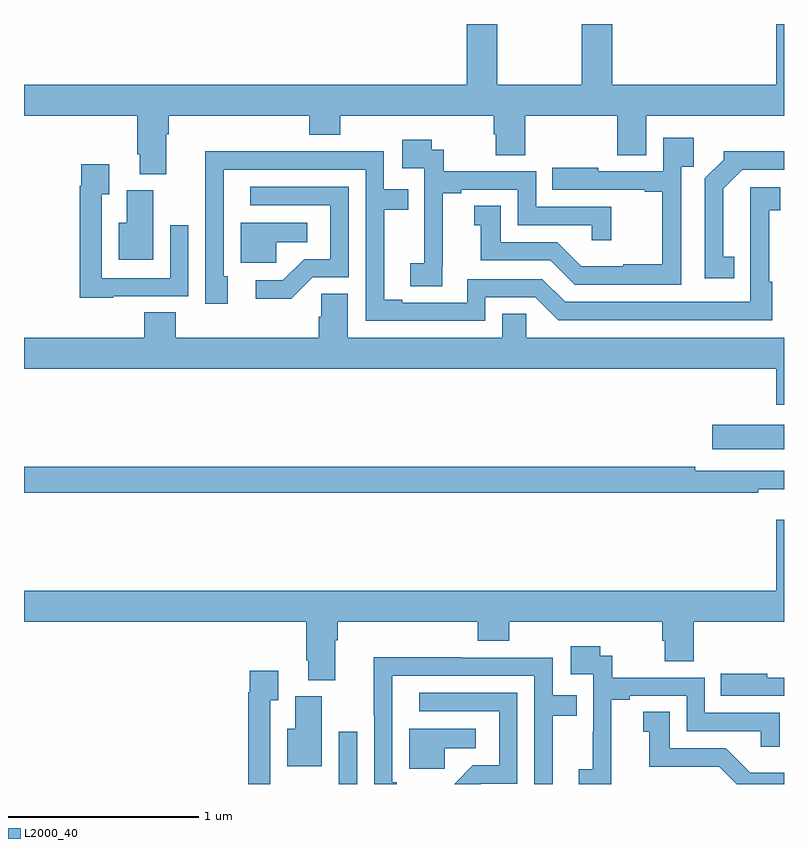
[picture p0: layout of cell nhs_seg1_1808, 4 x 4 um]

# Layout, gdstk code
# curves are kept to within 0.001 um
import gdstk
lib = gdstk.Library(unit=1e-6, precision=1e-09)
def R(c, l, rs):  # rectangles x0, y0, x1, y1
    for r in rs: c.add(gdstk.rectangle(r[:2], r[2:], *l))
def P(c, l, *ps):  # polygons
    for p in ps: c.add(gdstk.Polygon(p, *l))
L2000_40 = (2000, 40)

nhs_seg1_1808 = lib.new_cell('nhs_seg1_1808')
R(nhs_seg1_1808, L2000_40, [(210.657,564.199,210.753,564.475), (212.622,565.961,213,566.091)])
P(nhs_seg1_1808, L2000_40, [(209.749,567.62),(209.762,567.62),(209.762,567.716),(210.5,567.716),(210.5,567.617),(210.665,567.617),(210.665,567.716),(211.472,567.716),(211.472,567.618),(211.484,567.618),(211.484,567.508),(211.637,567.508),(211.637,567.716),(212.123,567.716),(212.123,567.508),(212.275,567.508),(212.275,567.716),(213,567.716),(213,568.199),(212.96,568.199),(212.96,567.88),(212.096,567.88),(212.096,568.199),(211.936,568.199),(211.936,567.88),(211.491,567.88),(211.491,568.199),(211.331,568.199),(211.331,567.88),(209,567.88),(209,567.716),(209.597,567.716),(209.597,567.514),(209.609,567.514),(209.609,567.409),(209.749,567.409)],
  [(212.46,567.449),(212.525,567.449),(212.525,567.601),(212.364,567.601),(212.364,567.423),(212.023,567.423),(212.023,567.442),(211.78,567.442),(211.78,567.327),(212.267,567.327),(212.267,567.315),(212.359,567.315),(212.359,566.935),(212.153,566.935),(212.153,566.923),(211.934,566.923),(211.806,567.051),(211.51,567.051),(211.51,567.242),(211.37,567.242),(211.37,567.139),(211.403,567.139),(211.403,566.955),(211.77,566.955),(211.899,566.826),(212.46,566.826)],
  [(211.202,566.929),(211.204,566.929),(211.204,567.307),(211.3,567.307),(211.3,567.327),(211.599,567.327),(211.599,567.141),(211.989,567.141),(211.989,567.06),(212.09,567.06),(212.09,567.237),(211.695,567.237),(211.695,567.423),(211.208,567.423),(211.208,567.537),(211.146,567.537),(211.146,567.589),(210.99,567.589),(210.99,567.441),(211.107,567.441),(211.107,567.137),(211.106,567.137),(211.106,566.94),(211.032,566.94),(211.032,566.818),(211.202,566.818)],
  [(211.428,566.76),(211.692,566.76),(211.812,566.64),(212.939,566.64),(212.939,566.843),(212.922,566.843),(212.922,567.219),(212.98,567.219),(212.98,567.34),(212.822,567.34),(212.823,566.736),(211.848,566.736),(211.728,566.856),(211.332,566.856),(211.332,566.733),(210.991,566.733),(210.991,566.748),(210.895,566.748),(210.895,567.222),(211.022,567.222),(211.022,567.33),(210.894,567.33),(210.894,567.528),(210.416,567.528),(210.416,567.53),(209.954,567.53),(209.955,566.727),(210.073,566.727),(210.073,566.871),(210.051,566.871),(210.051,567.432),(210.798,567.432),(210.798,566.637),(211.428,566.637)],
  [(212.738,566.975),(212.68,566.975),(212.68,567.331),(212.781,567.432),(213,567.432),(213,567.53),(212.682,567.53),(212.682,567.485),(212.583,567.386),(212.583,566.862),(212.738,566.862)],
  [(209.469,566.766),(209.865,566.766),(209.865,567.139),(209.769,567.139),(209.769,566.862),(209.409,566.862),(209.409,567.304),(209.449,567.304),(209.449,567.46),(209.301,567.46),(209.301,567.347),(209.293,567.347),(209.293,566.759),(209.469,566.759)],
  [(210.519,566.865),(210.708,566.865),(210.708,567.342),(210.192,567.342),(210.192,567.246),(210.612,567.246),(210.612,566.961),(210.474,566.961),(210.363,566.85),(210.219,566.85),(210.219,566.753),(210.406,566.753)],
  [(209.68,567.324),(209.54,567.324),(209.54,567.154),(209.498,567.154),(209.498,566.957),(209.68,566.957)],
  [(210.327,567.05),(210.49,567.05),(210.49,567.154),(210.14,567.154),(210.14,566.943),(210.327,566.943)],
  [(213,566.548),(211.644,566.548),(211.644,566.675),(211.517,566.675),(211.517,566.548),(210.703,566.548),(210.703,566.78),(210.564,566.78),(210.564,566.657),(210.551,566.657),(210.551,566.548),(209.798,566.548),(209.798,566.681),(209.633,566.681),(209.633,566.548),(209,566.548),(209,566.384),(212.96,566.384),(212.96,566.196),(213,566.196)],
  [(212.864,565.751),(213,565.751),(213,565.848),(212.534,565.848),(212.534,565.868),(209,565.868),(209,565.732),(212.864,565.732)],
  [(210.637,564.956),(210.65,564.956),(210.65,565.052),(211.388,565.052),(211.388,564.953),(211.553,564.953),(211.553,565.052),(212.36,565.052),(212.36,564.954),(212.372,564.954),(212.372,564.844),(212.525,564.844),(212.525,565.052),(213,565.052),(213,565.591),(212.96,565.591),(212.96,565.216),(209,565.216),(209,565.052),(210.485,565.052),(210.485,564.85),(210.497,564.85),(210.497,564.745),(210.637,564.745)],
  [(212.09,564.265),(212.092,564.265),(212.092,564.643),(212.188,564.643),(212.188,564.663),(212.487,564.663),(212.487,564.477),(212.877,564.477),(212.877,564.396),(212.978,564.396),(212.978,564.573),(212.583,564.573),(212.583,564.759),(212.096,564.759),(212.096,564.873),(212.034,564.873),(212.034,564.925),(211.878,564.925),(211.878,564.777),(211.995,564.777),(211.995,564.473),(211.994,564.473),(211.994,564.276),(211.92,564.276),(211.92,564.199),(212.09,564.199)],
  [(210.961,564.207),(210.939,564.207),(210.939,564.768),(211.686,564.768),(211.686,564.199),(211.783,564.199),(211.783,564.558),(211.91,564.558),(211.91,564.666),(211.782,564.666),(211.782,564.864),(211.304,564.864),(211.304,564.866),(210.842,564.866),(210.842,564.562),(210.843,564.562),(210.843,564.199),(210.961,564.199)],
  [(210.297,564.64),(210.337,564.64),(210.337,564.796),(210.189,564.796),(210.189,564.683),(210.181,564.683),(210.181,564.199),(210.297,564.199)],
  [(213,564.759),(212.911,564.759),(212.911,564.778),(212.668,564.778),(212.668,564.663),(213,564.663)],
  [(211.407,564.201),(211.596,564.201),(211.596,564.678),(211.08,564.678),(211.08,564.582),(211.5,564.582),(211.5,564.297),(211.362,564.297),(211.264,564.199),(211.405,564.199)],
  [(210.568,564.66),(210.428,564.66),(210.428,564.49),(210.386,564.49),(210.386,564.293),(210.568,564.293)],
  [(213,564.259),(212.822,564.259),(212.694,564.387),(212.398,564.387),(212.398,564.578),(212.258,564.578),(212.258,564.475),(212.291,564.475),(212.291,564.291),(212.658,564.291),(212.75,564.199),(213,564.199)],
  [(211.215,564.386),(211.378,564.386),(211.378,564.49),(211.028,564.49),(211.028,564.279),(211.215,564.279)])

lib.write_gds('nhs_seg1_1808.gds')
